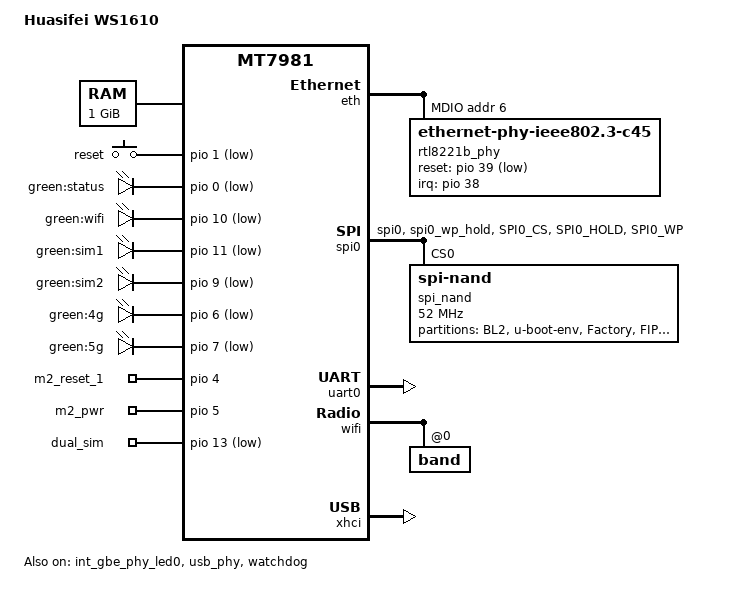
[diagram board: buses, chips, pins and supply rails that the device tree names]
// SPDX-License-Identifier: GPL-2.0-or-later OR MIT

/dts-v1/;
#include <dt-bindings/gpio/gpio.h>
#include <dt-bindings/input/input.h>
#include <dt-bindings/leds/common.h>

#include "mt7981b.dtsi"

/ {
	model = "Huasifei WS1610";
	compatible = "huasifei,ws1610", "mediatek,mt7981";

	aliases {
		led-boot = &led_sys;
		led-failsafe = &led_sys;
		led-running = &led_sys;
		led-upgrade = &led_sys;
		serial0 = &uart0;
	};

	chosen {
		stdout-path = "serial0:115200n8";
	};

	memory {
		reg = <0 0x40000000 0 0x40000000>;
		device_type = "memory";
	};

	gpio-keys {
		compatible = "gpio-keys";

		button-reset {
			label = "reset";
			linux,code = <KEY_RESTART>;
			gpios = <&pio 1 GPIO_ACTIVE_LOW>;
		};
	};

	/* Panel: [sys sim1 4G] [wifi sim2 5G]; all active-low.
	 * GPIO↔panel verified against hardware 2026-10-26:
	 * wifi=GPIO10, sim1=GPIO11, sim2=GPIO9, 4g=GPIO6, 5g=GPIO7.
	 * LAN port light = GPIO8 via internal GBE PHY LED0 (see &int_gbe_phy_led0). */
	gpio-leds {
		compatible = "gpio-leds";

		led_sys: led-0 {
			label = "green:status";
			gpios = <&pio 0 GPIO_ACTIVE_LOW>;
		};

		led_wifi: led-1 {
			label = "green:wifi";
			gpios = <&pio 10 GPIO_ACTIVE_LOW>;
		};

		led-2 {
			label = "green:sim1";
			gpios = <&pio 11 GPIO_ACTIVE_LOW>;
		};

		led-3 {
			label = "green:sim2";
			gpios = <&pio 9 GPIO_ACTIVE_LOW>;
		};

		led-4 {
			label = "green:4g";
			gpios = <&pio 6 GPIO_ACTIVE_LOW>;
		};

		led-5 {
			label = "green:5g";
			gpios = <&pio 7 GPIO_ACTIVE_LOW>;
		};
	};

	gpio-export {
		compatible = "gpio-export";

		/* M.2 module reset, high active (硬件方案 V1.0), idle low */
		m2_reset_1 {
			gpio-export,name = "m2_reset_1";
			gpio-export,output = <0>;
			gpios = <&pio 4 GPIO_ACTIVE_HIGH>;
		};

		/* M.2 module power enable, high active, must drive high */
		m2_pwr {
			gpio-export,name = "m2_pwr";
			gpio-export,output = <1>;
			gpios = <&pio 5 GPIO_ACTIVE_HIGH>;
		};

		dual_sim {
			gpio-export,name = "dual_sim";
			gpio-export,output = <1>;
			gpios = <&pio 13 GPIO_ACTIVE_LOW>;
		};
	};
};

&eth {
	pinctrl-names = "default";
	pinctrl-0 = <&mdio_pins>;
	status = "okay";

	gmac0: mac@0 {
		compatible = "mediatek,eth-mac";
		reg = <0>;
		phy-mode = "2500base-x";
		phy-handle = <&rtl8221b_phy>;
		label = "wan";
		nvmem-cells = <&macaddr_factory_4 2>;
		nvmem-cell-names = "mac-address";
	};

	gmac1: mac@1 {
		compatible = "mediatek,eth-mac";
		reg = <1>;
		phy-mode = "gmii";
		phy-handle = <&int_gbe_phy>;
		label = "lan";
		nvmem-cells = <&macaddr_factory_4 1>;
		nvmem-cell-names = "mac-address";
	};

	mdio: mdio-bus {
		#address-cells = <1>;
		#size-cells = <0>;

		rtl8221b_phy: ethernet-phy@6 {
			compatible = "ethernet-phy-ieee802.3-c45";
			reg = <6>;
			reset-gpios = <&pio 39 GPIO_ACTIVE_LOW>;
			reset-assert-us = <100000>;
			reset-deassert-us = <100000>;
			interrupts = <38 IRQ_TYPE_LEVEL_LOW>;
			interrupt-parent = <&pio>;
			realtek,led-link-select = <0x03 0xa4 0x00>;
			realtek,led-act-select = <0x3513>;
			realtek,aldps-enable;
		};
	};
};

&spi0 {
	pinctrl-names = "default";
	pinctrl-0 = <&spi0_flash_pins>;
	status = "okay";

	spi_nand@0 {
		compatible = "spi-nand";
		reg = <0>;

		spi-max-frequency = <52000000>;
		spi-tx-buswidth = <4>;
		spi-rx-buswidth = <4>;

		spi-cal-enable;
		spi-cal-mode = "read-data";
		spi-cal-datalen = <7>;
		spi-cal-data = /bits/ 8 <0x53 0x50 0x49 0x4e 0x41 0x4e 0x44>;
		spi-cal-addrlen = <5>;
		spi-cal-addr = /bits/ 32 <0x0 0x0 0x0 0x0 0x0>;

		mediatek,nmbm;
		mediatek,bmt-max-ratio = <1>;
		mediatek,bmt-max-reserved-blocks = <64>;

		partitions {
			compatible = "fixed-partitions";
			#address-cells = <1>;
			#size-cells = <1>;

			partition@0 {
				label = "BL2";
				reg = <0x0 0x100000>;
				read-only;
			};

			partition@100000 {
				label = "u-boot-env";
				reg = <0x100000 0x80000>;
				read-only;
			};

			partition@180000 {
				label = "Factory";
				reg = <0x180000 0x200000>;

				nvmem-layout {
					compatible = "fixed-layout";
					#address-cells = <1>;
					#size-cells = <1>;

					eeprom_factory_0: eeprom@0 {
						reg = <0x0 0x1000>;
					};

					macaddr_factory_4: macaddr@4 {
						compatible = "mac-base";
						reg = <0x4 0x6>;
						#nvmem-cell-cells = <1>;
					};
				};
			};

			partition@380000 {
				label = "FIP";
				reg = <0x380000 0x200000>;
				read-only;
			};

			/* matches U-Boot mt7981 dtsi default view (226 MiB) */
			partition@580000 {
				label = "ubi";
				reg = <0x580000 0xe280000>;
			};
		};
	};
};

/* SerDes pairs are crossed on the PCB: P(host)->N(device), N(host)->P(device)
 * (schematic note on the HSGMII TX/RX nets) - pnswap is mandatory */
&sgmiisys0 {
	mediatek,pnswap;
};

&pio {
	spi0_flash_pins: spi0-pins {
		mux {
			function = "spi";
			groups = "spi0", "spi0_wp_hold";
		};

		conf-pu {
			pins = "SPI0_CS", "SPI0_HOLD", "SPI0_WP";
			drive-strength = <MTK_DRIVE_8mA>;
			bias-pull-up = <MTK_PUPD_SET_R1R0_11>;
		};

	};

	/* LAN port light on GPIO8, driven by the internal GBE PHY LED0
	 * (same wiring as ws3006; pin is muxed to the phy led function) */
	gbe_led0_pins: gbe-led0-pins {
		mux {
			function = "led";
			groups = "gbe_led0";
		};
	};
};

/* internal GE PHY calibration data from efuse (as QWRT + wh3000r/ws3009 do) */
&int_gbe_phy {
	nvmem-cells = <&phy_calibration>;
	nvmem-cell-names = "phy-cal-data";
	pinctrl-names = "default";
	pinctrl-0 = <&gbe_led0_pins>;
};

&int_gbe_phy_led0 {
	function = LED_FUNCTION_LAN;
	color = <LED_COLOR_ID_GREEN>;
	status = "okay";
};

&usb_phy {
	status = "okay";
};

&uart0 {
	status = "okay";
};

&watchdog {
	status = "okay";
};

&wifi {
	status = "okay";
	#address-cells = <1>;
	#size-cells = <0>;
	nvmem-cells = <&eeprom_factory_0>;
	nvmem-cell-names = "eeprom";

	band@0 {
		reg = <0>;
		nvmem-cells = <&macaddr_factory_4 0>;
		nvmem-cell-names = "mac-address";
	};
};

&xhci {
	status = "okay";
};
